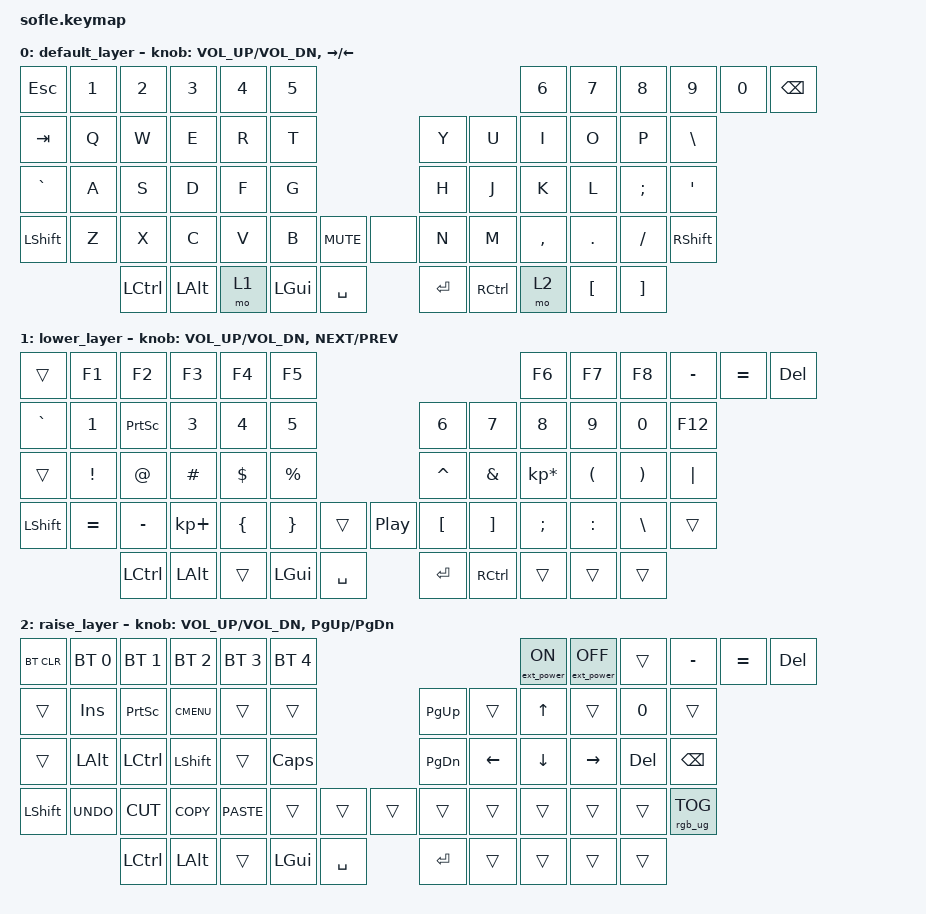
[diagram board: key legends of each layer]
/*
 * Copyright (c) 2020 The ZMK Contributors
 *
 * SPDX-License-Identifier: MIT
 */

#include <behaviors.dtsi>
#include <dt-bindings/zmk/keys.h>
#include <dt-bindings/zmk/bt.h>
#include <dt-bindings/zmk/rgb.h>
#include <dt-bindings/zmk/ext_power.h>

/ {
    keymap {
        compatible = "zmk,keymap";

        default_layer {
// ------------------------------------------------------------------------------------------------------------
// |  ESC  |  1  |  2  |  3   |  4   |  5   |                   |  6   |  7    |  8    |  9   |   0   | BKSPC |
// |  TAB  |  Q  |  W  |  E   |  R   |  T   |                   |  Y   |  U    |  I    |  O   |   P   |   |   |
// |  `    |  A  |  S  |  D   |  F   |  G   |                   |  H   |  J    |  K    |  L   |   ;   |   '   |
// | SHIFT |  Z  |  X  |  C   |  V   |  B   |  MUTE  |  |       |  N   |  M    |  ,    |  .   |   /   | SHIFT |
//               | GUI | LOWER| CTRL | ALT  |  SPACE |  | ENTER | CTRL | RAISE | ALT   | GUI  |
            bindings = <
&kp ESC &kp N1 &kp N2   &kp N3   &kp N4    &kp N5                      &kp N6 &kp N7    &kp N8    &kp N9   &kp N0   &kp BSPC
&kp TAB   &kp Q  &kp W    &kp E    &kp R     &kp T                       &kp Y  &kp U     &kp I     &kp O    &kp P    &kp BSLH
&kp GRAVE   &kp A  &kp S    &kp D    &kp F     &kp G                       &kp H  &kp J     &kp K     &kp L    &kp SEMI &kp SQT
&kp LSHFT &kp Z  &kp X    &kp C    &kp V     &kp B  &kp C_MUTE &none     &kp N  &kp M     &kp COMMA &kp DOT  &kp FSLH &kp RSHFT
                 &kp LCTRL &kp LALT &mo 1 &kp LGUI  &kp SPACE    &kp RET &kp RCTRL &mo 2 &kp LBKT  &kp RBKT
            >;

            sensor-bindings = <&inc_dec_kp C_VOL_UP C_VOL_DN &inc_dec_kp RIGHT LEFT>;
        };

        lower_layer {
// TODO: Some binds are waiting for shifted keycode support.
// ------------------------------------------------------------------------------------------------------------
// |       |  F1 |  F2 |  F3  |  F4  |  F5  |                   |  F6  |  F7   |  F8   |  -   |   =   |  DEL  |
// | `     |   1 |PSCRN|   3  |   4  |   5  |                   |   6  |   7   |   8   |   9  |    0  |  F12  |
// |       |  !  |  @  |  #   |  $   |  %   |                   |  ^   |  &    |  *    |  (   |   )   |   |   |
// |       |  =  |  -  |  +   |  {   |  }   |        |  |       |  [   |  ]    |  ;    |  :   |   \   |       |
//               |     |      |      |      |        |  |       |      |       |       |      |
            bindings = <
&trans    &kp F1    &kp F2    &kp F3      &kp F4    &kp F5                    &kp F6    &kp F7   &kp F8          &kp MINUS    &kp EQUAL   &kp DEL
&kp GRAVE &kp N1    &kp PSCRN    &kp N3      &kp N4    &kp N5                    &kp N6    &kp N7   &kp N8          &kp N9    &kp N0    &kp F12
&trans    &kp EXCL  &kp AT    &kp HASH    &kp DLLR  &kp PRCNT                 &kp CARET &kp AMPS &kp KP_MULTIPLY &kp LPAR  &kp RPAR  &kp PIPE
&kp LSHFT &kp EQUAL &kp MINUS &kp KP_PLUS &kp LBRC  &kp RBRC  &trans   &kp C_PP &kp LBKT  &kp RBKT &kp SEMI        &kp COLON &kp BSLH  &trans
                    &kp LCTRL &kp LALT  &trans    &kp LGUI   &kp SPACE   &kp RET  &kp RCTRL    &trans   &trans          &trans
            >;

            sensor-bindings = <&inc_dec_kp C_VOL_UP C_VOL_DN &inc_dec_kp C_NEXT C_PREV>;
        };

        raise_layer {
// ------------------------------------------------------------------------------------------------------------
// |BTCLR| BT1  | BT2  |  BT3  |  BT4  |  BT5 |                | EP ON|EP OFF|       |      |       |  DEL  |
// |     | INS  | PSCR | GUI   |       |      |                | PGUP |      |   ^   |      |       |       |
// |     | ALT  | CTRL | SHIFT |       | CAPS |                | PGDN |   <- |   v   |  ->  |  DEL  | BKSPC |
// |     | UNDO | CUT  | COPY  | PASTE |      |      |  |      |      |      |       |      |       |       |
//              |      |       |       |      |      |  |      |      |      |       |      |
            bindings = <
&bt BT_CLR &bt BT_SEL 0 &bt BT_SEL 1 &bt BT_SEL 2 &bt BT_SEL 3 &bt BT_SEL 4             &ext_power EP_ON &ext_power EP_OFF    &trans   &kp MINUS    &kp EQUAL  &kp DEL
&trans     &kp INS      &kp PSCRN    &kp K_CMENU  &trans       &trans                   &kp PG_UP &trans    &kp UP   &trans    &kp N0  &trans
&trans     &kp LALT     &kp LCTRL    &kp LSHFT    &trans       &kp CLCK                 &kp PG_DN &kp LEFT  &kp DOWN &kp RIGHT &kp DEL &kp BSPC
&kp LSHFT  &kp K_UNDO   &kp K_CUT    &kp K_COPY   &kp K_PASTE  &trans  &trans   &trans  &trans    &trans    &trans   &trans    &trans  &rgb_ug RGB_TOG
                        &kp LCTRL    &kp LALT     &trans       &kp LGUI  &kp SPACE   &kp RET &trans    &trans    &trans   &trans
            >;

            sensor-bindings = <&inc_dec_kp C_VOL_UP C_VOL_DN &inc_dec_kp PG_UP PG_DN>;
        };
    };
};
